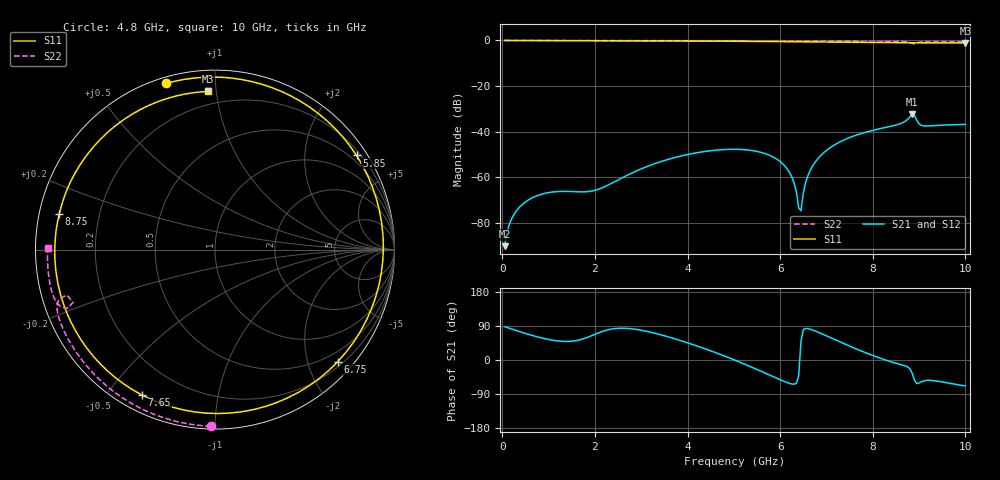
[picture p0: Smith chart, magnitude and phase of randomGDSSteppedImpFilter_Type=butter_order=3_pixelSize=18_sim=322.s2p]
! freq	dB(S11)	phase(S11)	dB(S12)	phase(S12)
!  dB(S21)	phase(S21)	dB(S22)	phase(S22)
!S-par simulation data
#  GHz  S  DB  R 50
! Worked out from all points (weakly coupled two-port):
!   200 points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, 50 MHz to 10 GHz, reference 50 ohm
!   highest |S21| = -32.44 dB at 8.85 GHz (marker M1); lowest = -90.3 dB at 50 MHz (marker M2)
!   lowest |S11| = -1.1 dB at 10 GHz (marker M3), VSWR 15.95, Z = 5.97 + j47.4 ohm
!   |S11| at or under -10 dB: nowhere
!   |S22| runs from -1.5 to 0.0 dB; largest |S21 - S12| = 0
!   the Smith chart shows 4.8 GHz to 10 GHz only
!   S11 on the Smith chart (normalised r, x): 4.8 GHz: 0.03, +0.75; 5.85 GHz: 0.32, +3.28; 6.75 GHz: 0.29, -2.55; 7.65 GHz: 0.07, -0.62; 8.75 GHz: 0.06, +0.11; 10 GHz: 0.12, +0.95
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0.05  -0.00 -3.1  -90.27 87.9  -90.27 87.9  -0.00 -1.0
0.75  -0.06 -45.9  -68.14 61.3  -68.14 61.3  -0.02 -15.2
1.75  -0.12 -101.5  -66.44 55.9  -66.44 55.9  -0.04 -35.0
2.6  -0.16 -143.3  -60.16 83.9  -60.16 83.9  -0.07 -51.4
3.4  -0.19 179.2  -53.33 67.3  -53.33 67.3  -0.09 -66.3
4.1  -0.24 145.0  -49.66 41.3  -49.66 41.3  -0.11 -79.0
4.8  -0.31 106.4  -47.86 10.4  -47.86 10.4  -0.14 -91.4
5.05  -0.34 90.9  -47.76 -1.7  -47.76 -1.7  -0.15 -95.7
5.85  -0.47 33.6  -51.16 -43.9  -51.16 -43.9  -0.19 -109.3
6.25  -0.55 0.7  -59.81 -63.2  -59.81 -63.2  -0.21 -116.1
6.4  -0.59 -12.1  -73.50 -42.5  -73.50 -42.5  -0.22 -118.6
6.45  -0.60 -16.4  -74.74 49.8  -74.74 49.8  -0.22 -119.4
6.55  -0.62 -25.1  -62.35 83.2  -62.35 83.2  -0.23 -121.1
6.7  -0.66 -38.1  -55.13 79.3  -55.13 79.3  -0.24 -123.6
6.75  -0.67 -42.4  -53.58 76.9  -53.58 76.9  -0.25 -124.5
7.2  -0.77 -80.7  -45.51 52.7  -45.51 52.7  -0.28 -132.0
7.65  -0.85 -116.6  -41.49 28.9  -41.49 28.9  -0.32 -139.6
8.35  -0.96 -166.8  -37.85 -3.1  -37.85 -3.1  -0.40 -152.0
8.75  -1.01 167.1  -34.69 -18.0  -34.69 -18.0  -0.64 -161.0
8.85  -1.01 160.8  -32.44 -34.7  -32.44 -34.7  -1.29 -162.9
9.1  -1.04 145.2  -37.49 -55.0  -37.49 -55.0  -0.60 -162.2
10  -1.09 92.7  -36.83 -68.4  -36.83 -68.4  -0.62 179.4
